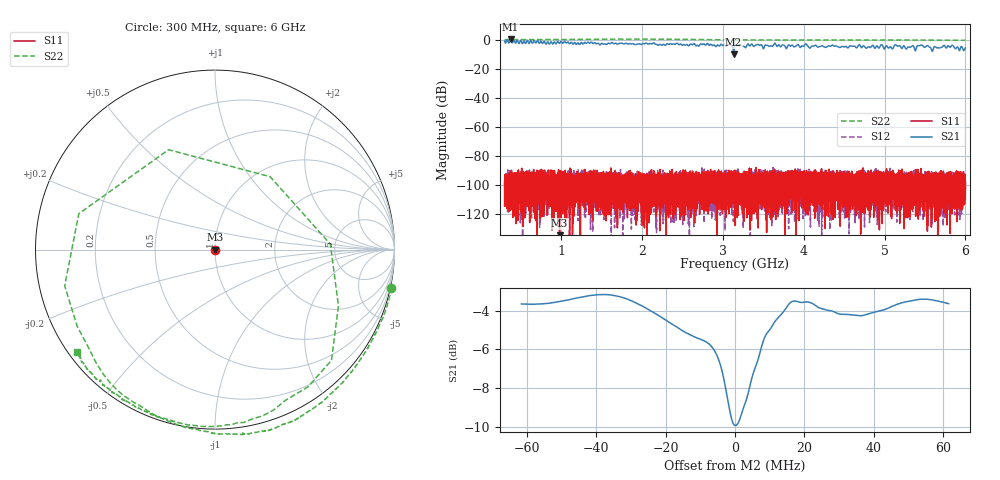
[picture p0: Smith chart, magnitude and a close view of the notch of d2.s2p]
!Agilent Technologies,N5230C,SG49000117,A.08.50.07
!Agilent N5230C: A.08.50.07
!Date: Sunday, March 17, 2024 00:50:01
!Correction: S11(Off)
!S21(Off)
!S12(Off)
!S22(Full 1 Port(2))
!S2P File: Measurements: S11, S21, S12, S22:
# Hz S  RI  R 50
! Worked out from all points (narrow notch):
!   20001 points, 300 MHz to 6 GHz, reference 50 ohm
!   highest |S21| = 0.35 dB at 373.8 MHz (marker M1); lowest = -9.9 dB at 3.132 GHz (marker M2)
!   notch at M2: 6.2 dB deep, 10.3 MHz wide at half that depth
!   lowest |S11| = -143.6 dB at 979.7 MHz (marker M3), VSWR 1.00, Z = 50 + j5.93e-06 ohm
!   |S11| at or under -10 dB: start of sweep to end of sweep
!   |S22| runs from -5.9 to 0.4 dB; largest |S21 - S12| = 1
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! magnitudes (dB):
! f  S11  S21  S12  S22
! 300 MHz  -97.6  -1.0  -100.5  0.0
! 373.8 MHz  -92.8  0.3  -99.9  0.1
! 979.7 MHz  -143.6  -2.4  -99.4  0.2
! 1.25 GHz  -101.1  -1.9  -105.2  0.3
! 2.2 GHz  -103.8  -3.8  -100.5  0.4
! 3.079 GHz  -99.3  -3.6  -97.2  -0.3
! 3.132 GHz  -105.8  -9.9  -96.8  -2.8
! 3.15 GHz  -107.4  -3.5  -109.1  -0.9
! 3.173 GHz  -103.2  -4.1  -109.1  -0.2
! 3.266 GHz  -96.0  -4.7  -104.3  -0.1
! 3.333 GHz  -130.9  -4.3  -109.1  -0.1
! 3.78 GHz  -99.6  -5.9  -93.2  -0.2
! 4.027 GHz  -105.7  -2.9  -93.3  -0.2
! 4.1 GHz  -104.5  -4.4  -100.9  -0.2
! 5.05 GHz  -91.9  -5.8  -99.7  -0.2
! 5.148 GHz  -113.2  -3.9  -101.8  -0.2
! 5.384 GHz  -94.6  -7.5  -101.9  -0.2
! 5.442 GHz  -103.5  -3.9  -97.6  -0.2
! 5.542 GHz  -92.9  -4.5  -95.4  -0.3
! 5.581 GHz  -102.0  -7.0  -90.9  -0.3
! 5.831 GHz  -103.0  -3.9  -96.7  -0.3
! 6 GHz  -98.0  -5.7  -104.4  -0.4
